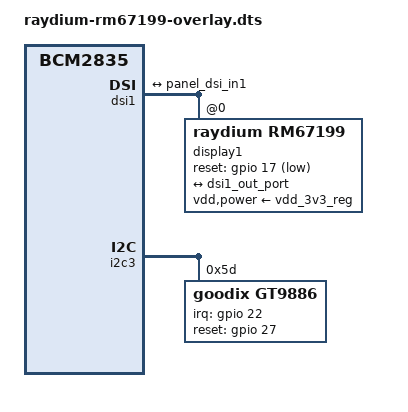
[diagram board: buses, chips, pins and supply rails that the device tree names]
/dts-v1/;
/plugin/;

/ {
	compatible = "brcm,bcm2835";

	fragment@0 {
		target=<&dsi1>;

		__overlay__ {
			status = "okay";
			#address-cells = <1>;
			#size-cells = <0>;

			port {
				dsi1_out_port: endpoint {
					remote-endpoint = <&panel_dsi_in1>;
				};
			};

			display1: panel@0 {
				status = "okay";
				compatible = "raydium,rm67199";
				reg = <0>;

				vdd-supply = <&vdd_3v3_reg>;
				power-supply = <&vdd_3v3_reg>;
				reset-gpios = <&gpio 17 1>;   // LCD RST

				dsi-lanes = <4>;

				rotation = <270>;
				pinctrl-names = "default";
				video-mode = <2>;	// 0: burst mode
							// 1: non-burst mode with sync event
							// 2: non-burst mode with sync pulse
				panel-width-mm = <68>;
				panel-height-mm = <121>;

				port {
					panel_dsi_in1: endpoint {
						remote-endpoint = <&dsi1_out_port>;
					};
				};

				disp_timings0: display-timings {
					native-mode = <&dsi1_timing0>;
					dsi1_timing0: timing0 {
						clock-frequency = <133710720>;
						hactive = <1080>;
						vactive = <1920>;
						hfront-porch = <26>;
						hsync-len = <2>;
						hback-porch = <36>;
						vfront-porch = <8>;
						vsync-len = <4>;
						vback-porch = <16>;
						hsync-active = <0>;
						vsync-active = <0>;
						de-active = <0>;
						pixelclk-active = <0>;
					};
				};
			};
		};
	};

	fragment@1 {
		target = <&gpio>;
		__overlay__ {
			panel_pins: panel_pins {
				brcm,pins = <17>;
				brcm,function = <1>; // out
				brcm,pull = <0>; // off
			};
		};
	};

	fragment@2 {
		target = <&i2c3>;
		__overlay__ {
			status = "okay";
			#address-cells = <1>;
			#size-cells = <0>;

			gt9886: gt9886@5d {
				status = "okay";
				compatible = "goodix,gt9886";
				reg = <0x5d>;
				pinctrl-names = "default";
				pinctrl-0 = <&touch_pins>;
				interrupt-parent = <&gpio>;
				interrupts = <22 2>; // GPIO22, IRQ_TYPE_EDGE_FALLING
				goodix,irq-gpio = <&gpio 22 0>;
				goodix,reset-gpio = <&gpio 27 0>;
				goodix,irq-flags = <2>; /* 1:trigger rising, 2:trigger falling */
				goodix,panel-max-x = <1080>;
				goodix,panel-max-y = <1920>;
				goodix,panel-max-w = <255>;
			};
		};
	};

	fragment@3 {
		target = <&gpio>;
		__overlay__ {
			touch_pins: touch_pins {
				brcm,pins = <22 27>; // IRQ and RESET pins
				brcm,function = <0 1>; // input, output
				brcm,pull = <0 0>; // no pull
			};
		};
	};
};
